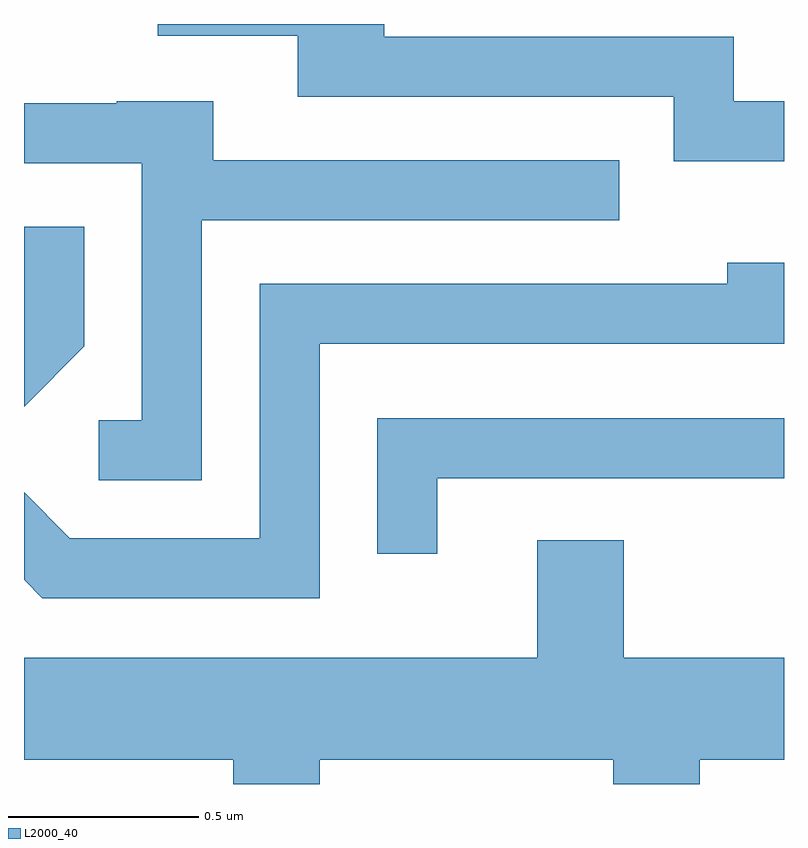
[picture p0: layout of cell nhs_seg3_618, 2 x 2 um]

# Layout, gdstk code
import gdstk
lib = gdstk.Library(unit=1e-6, precision=1e-09)
def P(c, l, *ps):  # polygons
    for p in ps: c.add(gdstk.Polygon(p, *l))
L2000_40 = (2000, 40)

nhs_seg3_618 = lib.new_cell('nhs_seg3_618')
P(nhs_seg3_618, L2000_40, [(191.611,1187.689),(191.479,1187.689),(191.479,1187.859),(190.559,1187.859),(190.559,1187.892),(189.963,1187.892),(189.963,1187.861),(190.331,1187.861),(190.331,1187.701),(191.321,1187.701),(191.321,1187.531),(191.611,1187.531)],
  [(190.079,1187.376),(191.178,1187.376),(191.178,1187.534),(190.109,1187.534),(190.109,1187.689),(189.855,1187.689),(189.855,1187.684),(189.611,1187.684),(189.611,1187.526),(189.921,1187.526),(189.921,1186.849),(189.808,1186.849),(189.808,1186.691),(190.079,1186.691)],
  [(189.769,1187.044),(189.769,1187.358),(189.611,1187.358),(189.611,1186.885)],
  [(190.389,1187.051),(191.611,1187.051),(191.611,1187.264),(191.461,1187.264),(191.461,1187.209),(190.231,1187.209),(190.231,1186.539),(189.732,1186.539),(189.611,1186.66),(189.611,1186.429),(189.659,1186.381),(190.389,1186.381)],
  [(190.699,1186.696),(191.611,1186.696),(191.611,1186.854),(190.541,1186.854),(190.541,1186.498),(190.699,1186.498)],
  [(190.389,1185.956),(191.161,1185.956),(191.161,1185.892),(191.389,1185.892),(191.389,1185.956),(191.611,1185.956),(191.611,1186.224),(191.189,1186.224),(191.189,1186.534),(190.961,1186.534),(190.961,1186.224),(189.611,1186.224),(189.611,1185.956),(190.161,1185.956),(190.161,1185.892),(190.389,1185.892)])

lib.write_gds('nhs_seg3_618.gds')
